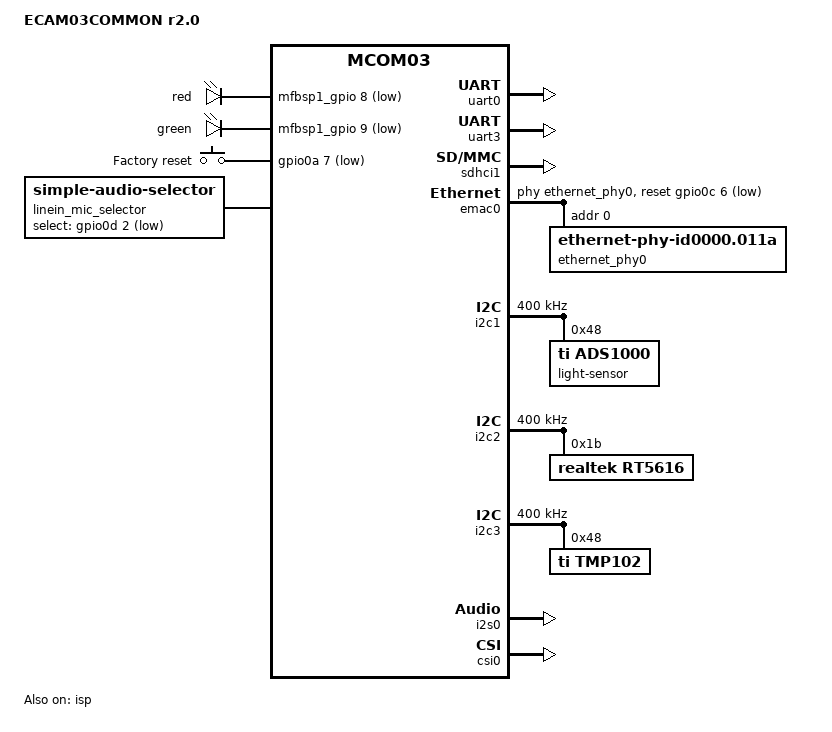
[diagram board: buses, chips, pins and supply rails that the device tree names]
// SPDX-License-Identifier: GPL-2.0+
/*
 * Copyright 2023 RnD Center "ELVEES", JSC
 */

/dts-v1/;

#include "mcom03-pm03cam-r2.0.dtsi"
#include <dt-bindings/input/input.h>

/ {
	model = "ECAM03COMMON r2.0";
	compatible = "elvees,pm03cam-r2.0-ecam03common-r2.0",
		     "elvees,pm03cam-r2.0",
		     "elvees,mcom03";

	gpio-leds {
		compatible = "gpio-leds";

		red {
			gpios = <&mfbsp1_gpio 8 GPIO_ACTIVE_LOW>;
			default-state = "off";
		};

		green {
			gpios = <&mfbsp1_gpio 9 GPIO_ACTIVE_LOW>;
			default-state = "off";
		};
	};

	gpio-keys {
		compatible = "gpio-keys";

		factory-reset {
			label = "Factory reset";
			gpios = <&gpio0a 7 GPIO_ACTIVE_LOW>;
			linux,code = <KEY_RESTART>;
		};
	};

	sound {
		compatible = "simple-audio-card";
		simple-audio-card,name = "ECAM03 audio";
		simple-audio-card,format = "i2s";
		simple-audio-card,bitclock-master = <&dailink0_master>;
		simple-audio-card,frame-master = <&dailink0_master>;
		simple-audio-card,aux-devs = <&linein_mic_selector>;
		simple-audio-card,widgets =
			"Microphone", "Microphone Jack",
			"Line", "Line In Jack",
			"Line", "Line Out Jack";
		simple-audio-card,routing =
			"Microphone Jack", "Channel1 IN",
			"MIC1", "Microphone Jack",
			"Microphone Jack", "micbias1",
			"Line In Jack", "Channel2 IN",
			"MIC2", "Line In Jack",
			"Line Out Jack", "LOUTL",
			"Line Out Jack", "LOUTR";

		dailink0_master: simple-audio-card,cpu {
			sound-dai = <&i2s0>;
		};

		simple-audio-card,codec {
			sound-dai = <&rt5616>;
			system-clock-frequency = <12288000>;
		};
	};

	linein_mic_selector: audio-selector {
		compatible = "simple-audio-selector";
		select-gpios = <&gpio0d 2 GPIO_ACTIVE_LOW>;
	};
};

&mfbsp1_gpio {
	status = "okay";

	gpio-line-names = "", "", "", "", "", "", "", "", "GPIO_LEDR", "GPIO_LEDG";
	gpio-reserved-ranges = <0 8>;
};

&uart0 {
	status = "okay";
};

/* Connected to RS-485 transceiver */
&uart3 {
	status = "okay";

	pinctrl-names = "default";
	pinctrl-0 = <&uart3_mux_data &uart3_mux_rs485>;
	linux,rs485-enabled-at-boot-time;
};

&sdhci1 {
	status = "okay";

	/* Disable 1.8V support
	 * Disable SDR50, SDR104 and DDR50 support
	 */
	sdhci-caps-mask = <0x7 0x4000000>;
	sdhci-caps = <0x0 0x0>;
};

&emac0 {
	status = "okay";

	phy-handle = <&ethernet_phy0>;

	reset-gpios = <&gpio0c 6 GPIO_ACTIVE_LOW>;

	ethernet_phy0: ethernet-phy@0 {
		compatible = "ethernet-phy-id0000.011a", "ethernet-phy-ieee802.3-c22";
		reg = <0x0>;

		motorcomm,clk-out-frequency-hz = <0>;
		rx-internal-delay-ps = <1650>;
		tx-internal-delay-ps = <1650>;
	};
};

&i2c1 {
	clock-frequency = <400000>;
	status = "okay";

	adc: adc@48 {
		compatible = "ti,ads1000";
		reg = <0x48>;
		label = "light-sensor";
	};
};

&i2c2 {
	clock-frequency = <400000>;
	status = "okay";

	/* TDB: Inertial Measurement Unit (IMU) QMI8658C */

	rt5616: audio-codec@1b {
		#sound-dai-cells = <0>;
		compatible = "realtek,rt5616";
		reg = <0x1b>;
	};
};

&i2c3 {
	clock-frequency = <400000>;
	status = "okay";

	tmp102@48 {
		compatible = "ti,tmp102";
		reg = <0x48>;
	};
};

&i2s0 {
	status = "okay";

	pinctrl-0 = <&i2s0_default_cfg &i2s0_mux_sdo0
		     &i2s0_mux_sdi0 &i2s0_mux_ext_clk>;

	assigned-clocks = <&lsperiph1_refmux_i2s>;
	assigned-clock-parents = <&i2s0_sclk_in_clk>;
};

&isp {
	status = "okay";
};

&csi0 {
	status = "okay";
};
